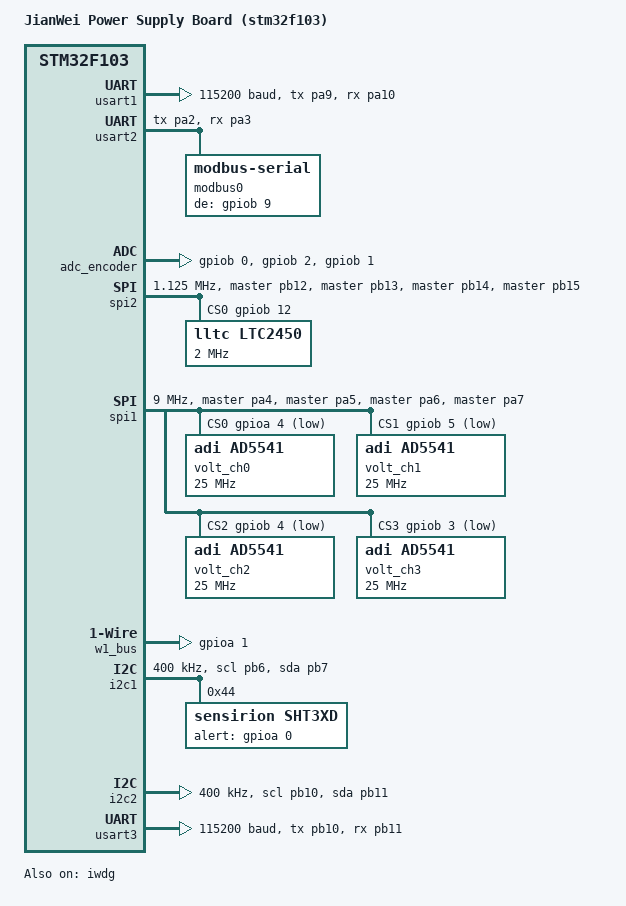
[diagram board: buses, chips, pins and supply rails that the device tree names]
/dts-v1/;

#include <st/f1/stm32f103Xb.dtsi>
#include <st/f1/stm32f103c(8-b)tx-pinctrl.dtsi>
#include "jw_pwb_common.dtsi"

/{
	model = "JianWei Power Supply Board (stm32f103)";
	compatible = "jw,pwb-stm32f103";

	chosen {
		zephyr,console = &usart1;
		zephyr,shell-uart = &usart1;
		zephyr,sram = &sram0;
		zephyr,flash = &flash0;
		zephyr,code-partition = &code_partition;
	};

  aliases {
		watchdog0 = &iwdg;
	};
};

// &flash0 {
// 	partitions {
// 		compatible = "fixed-partitions";
// 		#address-cells = <1>;
// 		#size-cells = <1>;

// 		boot_partition: partition@0 {
// 			label = "mcuboot";
// 			reg = <0x00000000 DT_SIZE_K(8)>;
// 			read-only;
// 		};

// 		/*
// 		 * The flash starting at offset 0x2000 and ending at
// 		 * offset 0x3999 is reserved for use by the application.
// 		 */

// 		slot0_partition: partition@4000 {
// 			label = "image-0";
// 			reg = <0x00004000 DT_SIZE_K(24)>;
// 		};
// 		slot1_partition: partition@a000 {
// 			label = "image-1";
// 			reg = <0x0000a000 DT_SIZE_K(24)>;
// 		};
// 	};
// };

&flash0 {
	partitions {
		compatible = "fixed-partitions";
		#address-cells = <1>;
		#size-cells = <1>;

		code_partition: partition@0 {
			label = "code";
			reg = <0x00000000 DT_SIZE_K(96)>;
			read-only;
		};

		/* [todo: from nucleo_f103rb] Set 32KB of storage at the end of 128KB flash */
		storage_partition: partition@18000 {
			label = "storage";
			reg = <0x00018000 DT_SIZE_K(32)>;
		};
	};
};

/* [todo] clocks: max sysclk allowed is 72 MHz */

/* uncomment it for RTC */
// &clk_lsi {
// 	status = "okay";
// };

// &rtc {
// 	clocks = <&rcc STM32_CLOCK_BUS_APB1 0x10000000>,
// 		 <&rcc STM32_SRC_LSI RTC_SEL(2)>;
// 	status = "okay";
// };

/* [todo] incorrect oscillator used currently */
// &clk_hse {
// 	clock-frequency = <DT_FREQ_M(8)>;
// 	status = "okay";
// };

&clk_hsi {
  status = "okay";
};

/* by default, PLL clock will be divided by 1.5 to get USB 48 MHz clock */
&pll {
	mul = <9>; // use 72 MHz
	clocks = <&clk_hsi>; // [todo] use hse to enable USB port
	status = "okay";
};

&rcc {
	clocks = <&pll>;
	clock-frequency = <DT_FREQ_M(72)>;
	ahb-prescaler = <1>; // 72 MHz
	apb1-prescaler = <2>; // max 36 MHz
	apb2-prescaler = <1>; // 72 MHz
};

/* watchdog */
&iwdg {
	status = "okay";
};

// [todo] needed?
&dma1 {
	status = "okay";
};

/* communication: */

/* - uart1 for debug-console */
&usart1 {
	pinctrl-0 = <&usart1_tx_pa9 &usart1_rx_pa10>;
	pinctrl-names = "default";
	current-speed = <115200>;
	status = "okay";
};

/* - uart2 for modbus */
&usart2 {
	pinctrl-0 = <&usart2_tx_pa2 &usart2_rx_pa3>;
	pinctrl-names = "default";
	// current-speed = <115200>; // [todo] needed?
	status = "okay";

	modbus0 {
		compatible = "zephyr,modbus-serial";
		status = "okay";

		de-gpios = <&gpiob 9 GPIO_ACTIVE_HIGH>;
	};
};

/* peripherals: */

/* - ch encoder for adc measurmeant */
&adc_encoder {
  status = "okay";
  gpios = <&gpiob 0  (GPIO_PULL_DOWN | GPIO_ACTIVE_HIGH)>,
          <&gpiob 2  (GPIO_PULL_DOWN | GPIO_ACTIVE_HIGH)>,
          <&gpiob 1  (GPIO_PULL_DOWN | GPIO_ACTIVE_HIGH)>;
};

/* - adc for V/I measuremet */
&spi2 {
	pinctrl-0 = <&spi2_nss_master_pb12 &spi2_sck_master_pb13
		          &spi2_miso_master_pb14 &spi2_mosi_master_pb15>;
	pinctrl-names = "default";
	clock-frequency = <1125000>; // limit it to 1.25 MHz (36 MHz/32)
	status = "okay";

	cs-gpios = <&gpiob 12 GPIO_ACTIVE_HIGH>;
  ltc2450@0 {
    compatible = "lltc,ltc2450";
    reg = <0>;
    status = "okay";

		spi-max-frequency = <2000000>; // max: 2 MHz
    duplex = <2048>; // half-duplex
  };
};

/* - dac  for V set */
&spi1 {
	pinctrl-0 = <&spi1_nss_master_pa4 &spi1_sck_master_pa5
		          &spi1_miso_master_pa6 &spi1_mosi_master_pa7>;
	pinctrl-names = "default";
	clock-frequency = <9000000>; // limit it to 9 MHz (72 MHz/8)
	status = "okay";

  cs-gpios = <&gpioa 4 GPIO_ACTIVE_LOW>,
             <&gpiob 5 GPIO_ACTIVE_LOW>,
             <&gpiob 4 GPIO_ACTIVE_LOW>,
             <&gpiob 3 GPIO_ACTIVE_LOW>;

  volt_ch0: dac@0{
    compatible = "adi,ad5541";
    status = "okay";
    reg = <0x0>;
	  spi-max-frequency = <25000000>; // max: 25 MHz
    duplex = <2048>; // half-duplex
  };

  volt_ch1: dac@1{
    compatible = "adi,ad5541";
    status = "okay";
    reg = <0x1>;
	  spi-max-frequency = <25000000>; // max: 25 MHz
    duplex = <2048>; // half-duplex
  };

  volt_ch2: dac@2{
    compatible = "adi,ad5541";
    status = "okay";
    reg = <0x2>;
	  spi-max-frequency = <25000000>; // max: 25 MHz
    duplex = <2048>; // half-duplex
  };

  volt_ch3: dac@3{
    compatible = "adi,ad5541";
    status = "okay";
    reg = <0x3>;
	  spi-max-frequency = <25000000>; // max: 25 MHz
    duplex = <2048>; // half-duplex
  };
};

/* - w1 for uuid */
&w1_bus {
  gpios = <&gpioa 1 (GPIO_ACTIVE_HIGH | GPIO_OPEN_DRAIN | GPIO_PULL_UP)>;
  status = "okay";
};

/* - sensor for temperature */
&i2c1 {
	pinctrl-0 = <&i2c1_scl_pb6 &i2c1_sda_pb7>;
	pinctrl-names = "default";
	status = "okay";
	clock-frequency = <I2C_BITRATE_FAST>;

	sht3xd@44 {
		compatible = "sensirion,sht3xd";
		reg= <0x44>;
    status = "okay";

		alert-gpios = <&gpioa 0 GPIO_ACTIVE_HIGH>;
	};
};

/* expansion port (i.e. labelled uart3 port in PCB design */
&i2c2 {
	pinctrl-0 = <&i2c2_scl_pb10 &i2c2_sda_pb11>;
	pinctrl-names = "default";
	clock-frequency = <I2C_BITRATE_FAST>;
};

&usart3 {
	pinctrl-0 = <&usart3_tx_pb10 &usart3_rx_pb11>;
	pinctrl-names = "default";
	current-speed = <115200>;
};

/* [todo] usb port (must have valid hse clock) */
zephyr_udc0: &usb {
	pinctrl-0 = <&usb_dm_pa11 &usb_dp_pa12>;
	pinctrl-names = "default";
  status = "disabled";
	// disconnect-gpios = <&gpioc 11 GPIO_ACTIVE_LOW>;
};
